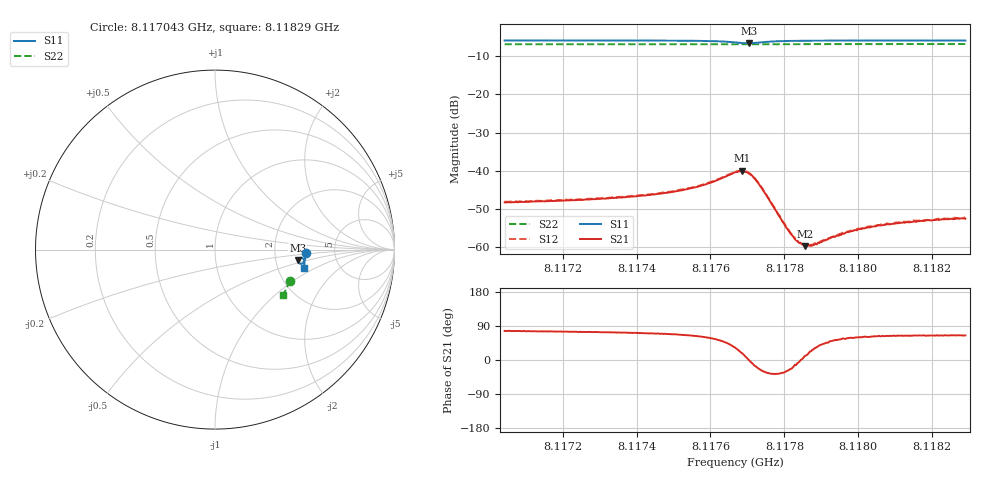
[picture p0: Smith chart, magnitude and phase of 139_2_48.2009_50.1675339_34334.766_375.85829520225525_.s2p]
#  HZ  S  RI  R  50.00
! Rohde & Schwarz Vector Network Analyzer
! Rohde-Schwarz,ZNB20-2Port,1311601062101988,3.16
! Created: UTC 3/20/2024, 11:42:14 AM
! freq[Hz]  re:S11  im:S11  re:S21  im:S21  re:S12  im:S12  re:S22  im:S22
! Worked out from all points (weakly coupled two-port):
!   401 points, 8.117043 GHz to 8.11829 GHz, reference 50 ohm
!   highest |S21| = -39.98 dB at 8.117685 GHz (marker M1); lowest = -59.6 dB at 8.117857 GHz (marker M2)
!   lowest |S11| = -6.7 dB at 8.117704 GHz (marker M3), VSWR 2.74, Z = 134 - j19.6 ohm
!   |S11| at or under -10 dB: nowhere
!   |S22| runs from -6.9 to -6.8 dB; largest |S21 - S12| = 0.00031
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8.1170431e9  0.5057 -0.0204  0.000886 0.00377  0.00095 0.00385  0.4165 -0.1723
8.1172519e9  0.5042 -0.0371  0.00117 0.00402  0.0012 0.00406  0.4113 -0.1861
8.1173641e9  0.5029 -0.047  0.0014 0.0043  0.00145 0.00439  0.4082 -0.1933
8.1174607e9  0.501 -0.0562  0.00176 0.00472  0.00182 0.00475  0.4056 -0.1995
8.1175199e9  0.4988 -0.0626  0.00219 0.00508  0.00229 0.0052  0.4037 -0.2034
8.1175667e9  0.4958 -0.0686  0.00286 0.00556  0.00298 0.00559  0.4023 -0.2064
8.1176072e9  0.4905 -0.0745  0.00397 0.00599  0.00412 0.00607  0.4008 -0.209
8.1176664e9  0.4711 -0.0776  0.00803 0.00525  0.0082 0.0051  0.3983 -0.2125
8.1176851e9  0.4629 -0.0704  0.00952 0.00313  0.00962 0.00298  0.3974 -0.2132
8.1177038e9  0.4612 -0.0575  0.00924 -1.64e-05  0.00945 -0.000134  0.3969 -0.2138
8.1177163e9  0.4656 -0.0501  0.00807 -0.00169  0.00824 -0.00183  0.3967 -0.2142
8.117735e9  0.4754 -0.0449  0.00568 -0.00273  0.00574 -0.00285  0.3969 -0.2153
8.1178004e9  0.4945 -0.0548  0.00168 -0.00107  0.00175 -0.00106  0.3957 -0.2198
8.1178191e9  0.4962 -0.0582  0.00135 -0.000578  0.00137 -0.000608  0.3952 -0.2211
8.1178378e9  0.4973 -0.0612  0.00116 -0.000131  0.00118 -0.000127  0.3946 -0.2222
8.1178565e9  0.4979 -0.0641  0.00102 0.000204  0.00105 0.000192  0.3939 -0.2235
8.1178752e9  0.4982 -0.0666  0.000945 0.000469  0.000993 0.000448  0.3935 -0.2247
8.1179625e9  0.4984 -0.0767  0.000849 0.00125  0.000886 0.00131  0.3906 -0.2302
8.1180061e9  0.4979 -0.0809  0.000866 0.00151  0.00088 0.00152  0.389 -0.233
8.118084e9  0.497 -0.088  0.000886 0.00179  0.000924 0.00181  0.3863 -0.2378
8.1181869e9  0.4956 -0.0966  0.000976 0.00205  0.000995 0.00206  0.383 -0.2441
8.1182897e9  0.494 -0.1046  0.001 0.00215  0.00109 0.00221  0.3793 -0.2504
